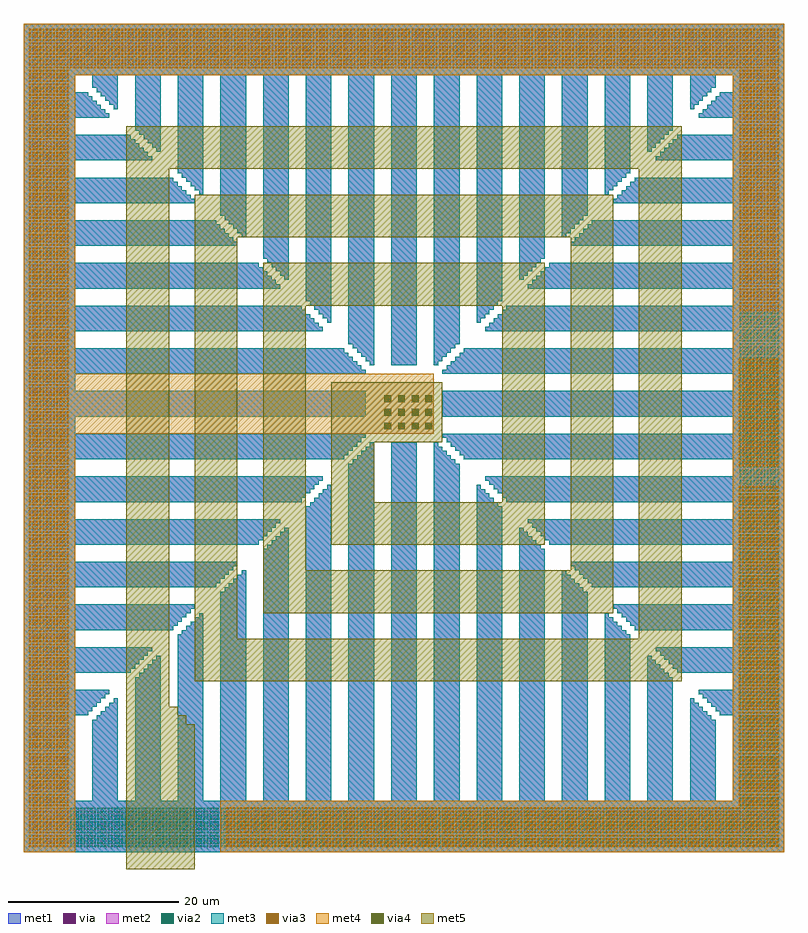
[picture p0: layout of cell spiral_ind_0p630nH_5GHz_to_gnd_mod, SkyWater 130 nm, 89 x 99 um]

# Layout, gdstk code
import gdstk
lib = gdstk.Library(unit=1e-6, precision=1e-09)
def R(c, l, rs):  # rectangles x0, y0, x1, y1
    for r in rs: c.add(gdstk.rectangle(r[:2], r[2:], *l))
def A(c, l, x, y, w, h, nx, ny, dx, dy):  # array of equal rectangles
    R(c, l, [(x+i*dx, y+j*dy, x+i*dx+w, y+j*dy+h) for i in range(nx) for j in range(ny)])
met1 = (68, 20)
via = (68, 44)
met2 = (69, 20)
via2 = (69, 44)
met3 = (70, 20)
via3 = (70, 44)
met4 = (71, 20)
via4 = (71, 44)
met5 = (72, 20)

spiral_ind_0p630nh_5ghz_ = lib.new_cell('spiral_ind_0p630nH_5GHz_to_gnd_mod')
A(spiral_ind_0p630nh_5ghz_, met1, -12, -1, 6, 2, 1, 15, 0, 5)
A(spiral_ind_0p630nh_5ghz_, met1, 71, -1, 6, 2, 1, 15, 0, 5)
R(spiral_ind_0p630nh_5ghz_, met1, [(-12,-20,77,-14), (-12,-14,-6,-4), (-4,-14,-1,-4.5), (1,-14,4,0.5), (6,-14,9,5.5), (11,-14,14,10.5), (16,-14,19,15.5), (21,-14,24,20.5), (26,-14,29,25.5), (31,-14,34,28), (36,-14,39,25.5), (41,-14,44,20.5), (46,-14,49,15.5), (51,-14,54,10.5), (56,-14,59,5.5), (61,-14,64,0.5), (66,-14,69,-4.5), (71,-14,77,-4), (-3.5,-4.5,-1,-4), (66,-4.5,68.5,-4), (-12,-4,-4.5,-3.5), (-3,-4,-1,-3.5), (66,-4,68,-3.5), (69.5,-4,77,-3.5), (-12,-3.5,-4,-3), (-2.5,-3.5,-1,-3), (66,-3.5,67.5,-3), (69,-3.5,77,-3), (-12,-3,-3.5,-2.5), (-2,-3,-1,-2.5), (66,-3,67,-2.5), (68.5,-3,77,-2.5), (-12,-2.5,-3,-2), (-1.5,-2.5,-1,-2), (66,-2.5,66.5,-2), (68,-2.5,77,-2), (-12,-2,-2.5,-1.5), (67.5,-2,77,-1.5), (-12,-1.5,-2,-1), (67,-1.5,77,-1), (1.5,0.5,4,1), (61,0.5,63.5,1), (-12,1,0.5,1.5), (2,1,4,1.5), (61,1,63,1.5), (64.5,1,77,1.5), (-12,1.5,1,2), (2.5,1.5,4,2), (61,1.5,62.5,2), (64,1.5,77,2), (-12,2,1.5,2.5), (3,2,4,2.5), (61,2,62,2.5), (63.5,2,77,2.5), (-12,2.5,2,3), (3.5,2.5,4,3), (61,2.5,61.5,3), (63,2.5,77,3), (-12,3,2.5,3.5), (62.5,3,77,3.5), (-12,3.5,3,4), (62,3.5,77,4), (6.5,5.5,9,6), (56,5.5,58.5,6), (-12,6,5.5,6.5), (7,6,9,6.5), (56,6,58,6.5), (59.5,6,77,6.5), (-12,6.5,6,7), (7.5,6.5,9,7), (56,6.5,57.5,7), (59,6.5,77,7), (-12,7,6.5,7.5), (8,7,9,7.5), (56,7,57,7.5), (58.5,7,77,7.5), (-12,7.5,7,8), (8.5,7.5,9,8), (56,7.5,56.5,8), (58,7.5,77,8), (-12,8,7.5,8.5), (57.5,8,77,8.5), (-12,8.5,8,9), (57,8.5,77,9), (11.5,10.5,14,11), (51,10.5,53.5,11), (-12,11,10.5,11.5), (12,11,14,11.5), (51,11,53,11.5), (54.5,11,77,11.5), (-12,11.5,11,12), (12.5,11.5,14,12), (51,11.5,52.5,12), (54,11.5,77,12), (-12,12,11.5,12.5), (13,12,14,12.5), (51,12,52,12.5), (53.5,12,77,12.5), (-12,12.5,12,13), (13.5,12.5,14,13), (51,12.5,51.5,13), (53,12.5,77,13), (-12,13,12.5,13.5), (52.5,13,77,13.5), (-12,13.5,13,14), (52,13.5,77,14), (16.5,15.5,19,16), (46,15.5,48.5,16), (-12,16,15.5,16.5), (17,16,19,16.5), (46,16,48,16.5), (49.5,16,77,16.5), (-12,16.5,16,17), (17.5,16.5,19,17), (46,16.5,47.5,17), (49,16.5,77,17), (-12,17,16.5,17.5), (18,17,19,17.5), (46,17,47,17.5), (48.5,17,77,17.5), (-12,17.5,17,18), (18.5,17.5,19,18), (46,17.5,46.5,18), (48,17.5,77,18), (-12,18,17.5,18.5), (47.5,18,77,18.5), (-12,18.5,18,19), (47,18.5,77,19), (21.5,20.5,24,21), (41,20.5,43.5,21), (-12,21,20.5,21.5), (22,21,24,21.5), (41,21,43,21.5), (44.5,21,77,21.5), (-12,21.5,21,22), (22.5,21.5,24,22), (41,21.5,42.5,22), (44,21.5,77,22), (-12,22,21.5,22.5), (23,22,24,22.5), (41,22,42,22.5), (43.5,22,77,22.5), (-12,22.5,22,23), (23.5,22.5,24,23), (41,22.5,41.5,23), (43,22.5,77,23), (-12,23,22.5,23.5), (42.5,23,77,23.5), (-12,23.5,23,24), (42,23.5,77,24), (26.5,25.5,29,26), (36,25.5,38.5,26), (-12,26,25.5,26.5), (27,26,29,26.5), (36,26,38,26.5), (39.5,26,77,26.5), (-12,26.5,26,27), (27.5,26.5,29,27), (36,26.5,37.5,27), (39,26.5,77,27), (-12,27,26.5,27.5), (28,27,29,27.5), (36,27,37,27.5), (38.5,27,77,27.5), (-12,27.5,27,28), (28.5,27.5,29,28), (36,27.5,36.5,28), (38,27.5,77,28), (-12,28,27.5,28.5), (37.5,28,77,28.5), (-12,28.5,28,29), (37,28.5,77,29), (-12,31,28,34), (37,31,77,34), (-12,36,28,36.5), (37,36,77,36.5), (-12,36.5,27.5,37), (37.5,36.5,77,37), (-12,37,27,37.5), (28.5,37,29,37.5), (31,37,34,71), (36,37,36.5,37.5), (38,37,77,37.5), (-12,37.5,26.5,38), (28,37.5,29,38), (36,37.5,37,38), (38.5,37.5,77,38), (-12,38,26,38.5), (27.5,38,29,38.5), (36,38,37.5,38.5), (39,38,77,38.5), (-12,38.5,25.5,39), (27,38.5,29,39), (36,38.5,38,39), (39.5,38.5,77,39), (26.5,39,29,39.5), (36,39,38.5,39.5), (26,39.5,29,71), (36,39.5,39,71), (-12,41,23,41.5), (42,41,77,41.5), (-12,41.5,22.5,42), (42.5,41.5,77,42), (-12,42,22,42.5), (23.5,42,24,42.5), (41,42,41.5,42.5), (43,42,77,42.5), (-12,42.5,21.5,43), (23,42.5,24,43), (41,42.5,42,43), (43.5,42.5,77,43), (-12,43,21,43.5), (22.5,43,24,43.5), (41,43,42.5,43.5), (44,43,77,43.5), (-12,43.5,20.5,44), (22,43.5,24,44), (41,43.5,43,44), (44.5,43.5,77,44), (21.5,44,24,44.5), (41,44,43.5,44.5), (21,44.5,24,71), (41,44.5,44,71), (-12,46,18,46.5), (47,46,77,46.5), (-12,46.5,17.5,47), (47.5,46.5,77,47), (-12,47,17,47.5), (18.5,47,19,47.5), (46,47,46.5,47.5), (48,47,77,47.5), (-12,47.5,16.5,48), (18,47.5,19,48), (46,47.5,47,48), (48.5,47.5,77,48), (-12,48,16,48.5), (17.5,48,19,48.5), (46,48,47.5,48.5), (49,48,77,48.5), (-12,48.5,15.5,49), (17,48.5,19,49), (46,48.5,48,49), (49.5,48.5,77,49), (16.5,49,19,49.5), (46,49,48.5,49.5), (16,49.5,19,71), (46,49.5,49,71), (-12,51,13,51.5), (52,51,77,51.5), (-12,51.5,12.5,52), (52.5,51.5,77,52), (-12,52,12,52.5), (13.5,52,14,52.5), (51,52,51.5,52.5), (53,52,77,52.5), (-12,52.5,11.5,53), (13,52.5,14,53), (51,52.5,52,53), (53.5,52.5,77,53), (-12,53,11,53.5), (12.5,53,14,53.5), (51,53,52.5,53.5), (54,53,77,53.5), (-12,53.5,10.5,54), (12,53.5,14,54), (51,53.5,53,54), (54.5,53.5,77,54), (11.5,54,14,54.5), (51,54,53.5,54.5), (11,54.5,14,71), (51,54.5,54,71), (-12,56,8,56.5), (57,56,77,56.5), (-12,56.5,7.5,57), (57.5,56.5,77,57), (-12,57,7,57.5), (8.5,57,9,57.5), (56,57,56.5,57.5), (58,57,77,57.5), (-12,57.5,6.5,58), (8,57.5,9,58), (56,57.5,57,58), (58.5,57.5,77,58), (-12,58,6,58.5), (7.5,58,9,58.5), (56,58,57.5,58.5), (59,58,77,58.5), (-12,58.5,5.5,59), (7,58.5,9,59), (56,58.5,58,59), (59.5,58.5,77,59), (6.5,59,9,59.5), (56,59,58.5,59.5), (6,59.5,9,71), (56,59.5,59,71), (-12,61,3,61.5), (62,61,77,61.5), (-12,61.5,2.5,62), (62.5,61.5,77,62), (-12,62,2,62.5), (3.5,62,4,62.5), (61,62,61.5,62.5), (63,62,77,62.5), (-12,62.5,1.5,63), (3,62.5,4,63), (61,62.5,62,63), (63.5,62.5,77,63), (-12,63,1,63.5), (2.5,63,4,63.5), (61,63,62.5,63.5), (64,63,77,63.5), (-12,63.5,0.5,64), (2,63.5,4,64), (61,63.5,63,64), (64.5,63.5,77,64), (1.5,64,4,64.5), (61,64,63.5,64.5), (1,64.5,4,71), (61,64.5,64,71), (-12,66,-2,66.5), (67,66,77,66.5), (-12,66.5,-2.5,67), (67.5,66.5,77,67), (-12,67,-3,67.5), (-1.5,67,-1,67.5), (66,67,66.5,67.5), (68,67,77,67.5), (-12,67.5,-3.5,68), (-2,67.5,-1,68), (66,67.5,67,68), (68.5,67.5,77,68), (-12,68,-4,68.5), (-2.5,68,-1,68.5), (66,68,67.5,68.5), (69,68,77,68.5), (-12,68.5,-4.5,69), (-3,68.5,-1,69), (66,68.5,68,69), (69.5,68.5,77,69), (-3.5,69,-1,69.5), (66,69,68.5,69.5), (-4,69.5,-1,71), (66,69.5,69,71), (-12,71,77,77)])
A(spiral_ind_0p630nh_5ghz_, via, -11.415, -19.415, 0.15, 0.15, 275, 15, 0.32, 0.32)
A(spiral_ind_0p630nh_5ghz_, via, -11.415, -14.615, 0.15, 0.15, 15, 270, 0.32, 0.32)
A(spiral_ind_0p630nh_5ghz_, via, 71.785, -14.615, 0.15, 0.15, 15, 270, 0.32, 0.32)
A(spiral_ind_0p630nh_5ghz_, via, -11.415, 71.785, 0.15, 0.15, 275, 15, 0.32, 0.32)
A(spiral_ind_0p630nh_5ghz_, met2, -12, -1, 6, 2, 1, 15, 0, 5)
A(spiral_ind_0p630nh_5ghz_, met2, 71, -1, 6, 2, 1, 15, 0, 5)
R(spiral_ind_0p630nh_5ghz_, met2, [(-12,-20,77,-14), (-12,-14,-6,-4), (-4,-14,-1,-4.5), (1,-14,4,0.5), (6,-14,9,5.5), (11,-14,14,10.5), (16,-14,19,15.5), (21,-14,24,20.5), (26,-14,29,25.5), (31,-14,34,28), (36,-14,39,25.5), (41,-14,44,20.5), (46,-14,49,15.5), (51,-14,54,10.5), (56,-14,59,5.5), (61,-14,64,0.5), (66,-14,69,-4.5), (71,-14,77,-4), (-3.5,-4.5,-1,-4), (66,-4.5,68.5,-4), (-12,-4,-4.5,-3.5), (-3,-4,-1,-3.5), (66,-4,68,-3.5), (69.5,-4,77,-3.5), (-12,-3.5,-4,-3), (-2.5,-3.5,-1,-3), (66,-3.5,67.5,-3), (69,-3.5,77,-3), (-12,-3,-3.5,-2.5), (-2,-3,-1,-2.5), (66,-3,67,-2.5), (68.5,-3,77,-2.5), (-12,-2.5,-3,-2), (-1.5,-2.5,-1,-2), (66,-2.5,66.5,-2), (68,-2.5,77,-2), (-12,-2,-2.5,-1.5), (67.5,-2,77,-1.5), (-12,-1.5,-2,-1), (67,-1.5,77,-1), (1.5,0.5,4,1), (61,0.5,63.5,1), (-12,1,0.5,1.5), (2,1,4,1.5), (61,1,63,1.5), (64.5,1,77,1.5), (-12,1.5,1,2), (2.5,1.5,4,2), (61,1.5,62.5,2), (64,1.5,77,2), (-12,2,1.5,2.5), (3,2,4,2.5), (61,2,62,2.5), (63.5,2,77,2.5), (-12,2.5,2,3), (3.5,2.5,4,3), (61,2.5,61.5,3), (63,2.5,77,3), (-12,3,2.5,3.5), (62.5,3,77,3.5), (-12,3.5,3,4), (62,3.5,77,4), (6.5,5.5,9,6), (56,5.5,58.5,6), (-12,6,5.5,6.5), (7,6,9,6.5), (56,6,58,6.5), (59.5,6,77,6.5), (-12,6.5,6,7), (7.5,6.5,9,7), (56,6.5,57.5,7), (59,6.5,77,7), (-12,7,6.5,7.5), (8,7,9,7.5), (56,7,57,7.5), (58.5,7,77,7.5), (-12,7.5,7,8), (8.5,7.5,9,8), (56,7.5,56.5,8), (58,7.5,77,8), (-12,8,7.5,8.5), (57.5,8,77,8.5), (-12,8.5,8,9), (57,8.5,77,9), (11.5,10.5,14,11), (51,10.5,53.5,11), (-12,11,10.5,11.5), (12,11,14,11.5), (51,11,53,11.5), (54.5,11,77,11.5), (-12,11.5,11,12), (12.5,11.5,14,12), (51,11.5,52.5,12), (54,11.5,77,12), (-12,12,11.5,12.5), (13,12,14,12.5), (51,12,52,12.5), (53.5,12,77,12.5), (-12,12.5,12,13), (13.5,12.5,14,13), (51,12.5,51.5,13), (53,12.5,77,13), (-12,13,12.5,13.5), (52.5,13,77,13.5), (-12,13.5,13,14), (52,13.5,77,14), (16.5,15.5,19,16), (46,15.5,48.5,16), (-12,16,15.5,16.5), (17,16,19,16.5), (46,16,48,16.5), (49.5,16,77,16.5), (-12,16.5,16,17), (17.5,16.5,19,17), (46,16.5,47.5,17), (49,16.5,77,17), (-12,17,16.5,17.5), (18,17,19,17.5), (46,17,47,17.5), (48.5,17,77,17.5), (-12,17.5,17,18), (18.5,17.5,19,18), (46,17.5,46.5,18), (48,17.5,77,18), (-12,18,17.5,18.5), (47.5,18,77,18.5), (-12,18.5,18,19), (47,18.5,77,19), (21.5,20.5,24,21), (41,20.5,43.5,21), (-12,21,20.5,21.5), (22,21,24,21.5), (41,21,43,21.5), (44.5,21,77,21.5), (-12,21.5,21,22), (22.5,21.5,24,22), (41,21.5,42.5,22), (44,21.5,77,22), (-12,22,21.5,22.5), (23,22,24,22.5), (41,22,42,22.5), (43.5,22,77,22.5), (-12,22.5,22,23), (23.5,22.5,24,23), (41,22.5,41.5,23), (43,22.5,77,23), (-12,23,22.5,23.5), (42.5,23,77,23.5), (-12,23.5,23,24), (42,23.5,77,24), (26.5,25.5,29,26), (36,25.5,38.5,26), (-12,26,25.5,26.5), (27,26,29,26.5), (36,26,38,26.5), (39.5,26,77,26.5), (-12,26.5,26,27), (27.5,26.5,29,27), (36,26.5,37.5,27), (39,26.5,77,27), (-12,27,26.5,27.5), (28,27,29,27.5), (36,27,37,27.5), (38.5,27,77,27.5), (-12,27.5,27,28), (28.5,27.5,29,28), (36,27.5,36.5,28), (38,27.5,77,28), (-12,28,27.5,28.5), (37.5,28,77,28.5), (-12,28.5,28,29), (37,28.5,77,29), (-12,31,28,34), (37,31,77,34), (-12,36,28,36.5), (37,36,77,36.5), (-12,36.5,27.5,37), (37.5,36.5,77,37), (-12,37,27,37.5), (28.5,37,29,37.5), (31,37,34,71), (36,37,36.5,37.5), (38,37,77,37.5), (-12,37.5,26.5,38), (28,37.5,29,38), (36,37.5,37,38), (38.5,37.5,77,38), (-12,38,26,38.5), (27.5,38,29,38.5), (36,38,37.5,38.5), (39,38,77,38.5), (-12,38.5,25.5,39), (27,38.5,29,39), (36,38.5,38,39), (39.5,38.5,77,39), (26.5,39,29,39.5), (36,39,38.5,39.5), (26,39.5,29,71), (36,39.5,39,71), (-12,41,23,41.5), (42,41,77,41.5), (-12,41.5,22.5,42), (42.5,41.5,77,42), (-12,42,22,42.5), (23.5,42,24,42.5), (41,42,41.5,42.5), (43,42,77,42.5), (-12,42.5,21.5,43), (23,42.5,24,43), (41,42.5,42,43), (43.5,42.5,77,43), (-12,43,21,43.5), (22.5,43,24,43.5), (41,43,42.5,43.5), (44,43,77,43.5), (-12,43.5,20.5,44), (22,43.5,24,44), (41,43.5,43,44), (44.5,43.5,77,44), (21.5,44,24,44.5), (41,44,43.5,44.5), (21,44.5,24,71), (41,44.5,44,71), (-12,46,18,46.5), (47,46,77,46.5), (-12,46.5,17.5,47), (47.5,46.5,77,47), (-12,47,17,47.5), (18.5,47,19,47.5), (46,47,46.5,47.5), (48,47,77,47.5), (-12,47.5,16.5,48), (18,47.5,19,48), (46,47.5,47,48), (48.5,47.5,77,48), (-12,48,16,48.5), (17.5,48,19,48.5), (46,48,47.5,48.5), (49,48,77,48.5), (-12,48.5,15.5,49), (17,48.5,19,49), (46,48.5,48,49), (49.5,48.5,77,49), (16.5,49,19,49.5), (46,49,48.5,49.5), (16,49.5,19,71), (46,49.5,49,71), (-12,51,13,51.5), (52,51,77,51.5), (-12,51.5,12.5,52), (52.5,51.5,77,52), (-12,52,12,52.5), (13.5,52,14,52.5), (51,52,51.5,52.5), (53,52,77,52.5), (-12,52.5,11.5,53), (13,52.5,14,53), (51,52.5,52,53), (53.5,52.5,77,53), (-12,53,11,53.5), (12.5,53,14,53.5), (51,53,52.5,53.5), (54,53,77,53.5), (-12,53.5,10.5,54), (12,53.5,14,54), (51,53.5,53,54), (54.5,53.5,77,54), (11.5,54,14,54.5), (51,54,53.5,54.5), (11,54.5,14,71), (51,54.5,54,71), (-12,56,8,56.5), (57,56,77,56.5), (-12,56.5,7.5,57), (57.5,56.5,77,57), (-12,57,7,57.5), (8.5,57,9,57.5), (56,57,56.5,57.5), (58,57,77,57.5), (-12,57.5,6.5,58), (8,57.5,9,58), (56,57.5,57,58), (58.5,57.5,77,58), (-12,58,6,58.5), (7.5,58,9,58.5), (56,58,57.5,58.5), (59,58,77,58.5), (-12,58.5,5.5,59), (7,58.5,9,59), (56,58.5,58,59), (59.5,58.5,77,59), (6.5,59,9,59.5), (56,59,58.5,59.5), (6,59.5,9,71), (56,59.5,59,71), (-12,61,3,61.5), (62,61,77,61.5), (-12,61.5,2.5,62), (62.5,61.5,77,62), (-12,62,2,62.5), (3.5,62,4,62.5), (61,62,61.5,62.5), (63,62,77,62.5), (-12,62.5,1.5,63), (3,62.5,4,63), (61,62.5,62,63), (63.5,62.5,77,63), (-12,63,1,63.5), (2.5,63,4,63.5), (61,63,62.5,63.5), (64,63,77,63.5), (-12,63.5,0.5,64), (2,63.5,4,64), (61,63.5,63,64), (64.5,63.5,77,64), (1.5,64,4,64.5), (61,64,63.5,64.5), (1,64.5,4,71), (61,64.5,64,71), (-12,66,-2,66.5), (67,66,77,66.5), (-12,66.5,-2.5,67), (67.5,66.5,77,67), (-12,67,-3,67.5), (-1.5,67,-1,67.5), (66,67,66.5,67.5), (68,67,77,67.5), (-12,67.5,-3.5,68), (-2,67.5,-1,68), (66,67.5,67,68), (68.5,67.5,77,68), (-12,68,-4,68.5), (-2.5,68,-1,68.5), (66,68,67.5,68.5), (69,68,77,68.5), (-12,68.5,-4.5,69), (-3,68.5,-1,69), (66,68.5,68,69), (69.5,68.5,77,69), (-3.5,69,-1,69.5), (66,69,68.5,69.5), (-4,69.5,-1,71), (66,69.5,69,71), (-12,71,77,77)])
A(spiral_ind_0p630nh_5ghz_, via2, -11.4, -19.4, 0.2, 0.2, 220, 12, 0.4, 0.4)
A(spiral_ind_0p630nh_5ghz_, via2, -11.4, -14.6, 0.2, 0.2, 12, 216, 0.4, 0.4)
A(spiral_ind_0p630nh_5ghz_, via2, 71.8, -14.6, 0.2, 0.2, 12, 216, 0.4, 0.4)
A(spiral_ind_0p630nh_5ghz_, via2, -11.4, 71.8, 0.2, 0.2, 220, 12, 0.4, 0.4)
A(spiral_ind_0p630nh_5ghz_, met3, -12, -1, 6, 2, 1, 15, 0, 5)
A(spiral_ind_0p630nh_5ghz_, met3, 71, -1, 6, 2, 1, 15, 0, 5)
R(spiral_ind_0p630nh_5ghz_, met3, [(-12,-20,77,-14), (-12,-14,-6,-4), (-4,-14,-1,-4.5), (1,-14,4,0.5), (6,-14,9,5.5), (11,-14,14,10.5), (16,-14,19,15.5), (21,-14,24,20.5), (26,-14,29,25.5), (31,-14,34,28), (36,-14,39,25.5), (41,-14,44,20.5), (46,-14,49,15.5), (51,-14,54,10.5), (56,-14,59,5.5), (61,-14,64,0.5), (66,-14,69,-4.5), (71,-14,77,-4), (-3.5,-4.5,-1,-4), (66,-4.5,68.5,-4), (-12,-4,-4.5,-3.5), (-3,-4,-1,-3.5), (66,-4,68,-3.5), (69.5,-4,77,-3.5), (-12,-3.5,-4,-3), (-2.5,-3.5,-1,-3), (66,-3.5,67.5,-3), (69,-3.5,77,-3), (-12,-3,-3.5,-2.5), (-2,-3,-1,-2.5), (66,-3,67,-2.5), (68.5,-3,77,-2.5), (-12,-2.5,-3,-2), (-1.5,-2.5,-1,-2), (66,-2.5,66.5,-2), (68,-2.5,77,-2), (-12,-2,-2.5,-1.5), (67.5,-2,77,-1.5), (-12,-1.5,-2,-1), (67,-1.5,77,-1), (1.5,0.5,4,1), (61,0.5,63.5,1), (-12,1,0.5,1.5), (2,1,4,1.5), (61,1,63,1.5), (64.5,1,77,1.5), (-12,1.5,1,2), (2.5,1.5,4,2), (61,1.5,62.5,2), (64,1.5,77,2), (-12,2,1.5,2.5), (3,2,4,2.5), (61,2,62,2.5), (63.5,2,77,2.5), (-12,2.5,2,3), (3.5,2.5,4,3), (61,2.5,61.5,3), (63,2.5,77,3), (-12,3,2.5,3.5), (62.5,3,77,3.5), (-12,3.5,3,4), (62,3.5,77,4), (6.5,5.5,9,6), (56,5.5,58.5,6), (-12,6,5.5,6.5), (7,6,9,6.5), (56,6,58,6.5), (59.5,6,77,6.5), (-12,6.5,6,7), (7.5,6.5,9,7), (56,6.5,57.5,7), (59,6.5,77,7), (-12,7,6.5,7.5), (8,7,9,7.5), (56,7,57,7.5), (58.5,7,77,7.5), (-12,7.5,7,8), (8.5,7.5,9,8), (56,7.5,56.5,8), (58,7.5,77,8), (-12,8,7.5,8.5), (57.5,8,77,8.5), (-12,8.5,8,9), (57,8.5,77,9), (11.5,10.5,14,11), (51,10.5,53.5,11), (-12,11,10.5,11.5), (12,11,14,11.5), (51,11,53,11.5), (54.5,11,77,11.5), (-12,11.5,11,12), (12.5,11.5,14,12), (51,11.5,52.5,12), (54,11.5,77,12), (-12,12,11.5,12.5), (13,12,14,12.5), (51,12,52,12.5), (53.5,12,77,12.5), (-12,12.5,12,13), (13.5,12.5,14,13), (51,12.5,51.5,13), (53,12.5,77,13), (-12,13,12.5,13.5), (52.5,13,77,13.5), (-12,13.5,13,14), (52,13.5,77,14), (16.5,15.5,19,16), (46,15.5,48.5,16), (-12,16,15.5,16.5), (17,16,19,16.5), (46,16,48,16.5), (49.5,16,77,16.5), (-12,16.5,16,17), (17.5,16.5,19,17), (46,16.5,47.5,17), (49,16.5,77,17), (-12,17,16.5,17.5), (18,17,19,17.5), (46,17,47,17.5), (48.5,17,77,17.5), (-12,17.5,17,18), (18.5,17.5,19,18), (46,17.5,46.5,18), (48,17.5,77,18), (-12,18,17.5,18.5), (47.5,18,77,18.5), (-12,18.5,18,19), (47,18.5,77,19), (21.5,20.5,24,21), (41,20.5,43.5,21), (-12,21,20.5,21.5), (22,21,24,21.5), (41,21,43,21.5), (44.5,21,77,21.5), (-12,21.5,21,22), (22.5,21.5,24,22), (41,21.5,42.5,22), (44,21.5,77,22), (-12,22,21.5,22.5), (23,22,24,22.5), (41,22,42,22.5), (43.5,22,77,22.5), (-12,22.5,22,23), (23.5,22.5,24,23), (41,22.5,41.5,23), (43,22.5,77,23), (-12,23,22.5,23.5), (42.5,23,77,23.5), (-12,23.5,23,24), (42,23.5,77,24), (26.5,25.5,29,26), (36,25.5,38.5,26), (-12,26,25.5,26.5), (27,26,29,26.5), (36,26,38,26.5), (39.5,26,77,26.5), (-12,26.5,26,27), (27.5,26.5,29,27), (36,26.5,37.5,27), (39,26.5,77,27), (-12,27,26.5,27.5), (28,27,29,27.5), (36,27,37,27.5), (38.5,27,77,27.5), (-12,27.5,27,28), (28.5,27.5,29,28), (36,27.5,36.5,28), (38,27.5,77,28), (-12,28,27.5,28.5), (37.5,28,77,28.5), (-12,28.5,28,29), (37,28.5,77,29), (-12,31,28,34), (37,31,77,34), (-12,36,28,36.5), (37,36,77,36.5), (-12,36.5,27.5,37), (37.5,36.5,77,37), (-12,37,27,37.5), (28.5,37,29,37.5), (31,37,34,71), (36,37,36.5,37.5), (38,37,77,37.5), (-12,37.5,26.5,38), (28,37.5,29,38), (36,37.5,37,38), (38.5,37.5,77,38), (-12,38,26,38.5), (27.5,38,29,38.5), (36,38,37.5,38.5), (39,38,77,38.5), (-12,38.5,25.5,39), (27,38.5,29,39), (36,38.5,38,39), (39.5,38.5,77,39), (26.5,39,29,39.5), (36,39,38.5,39.5), (26,39.5,29,71), (36,39.5,39,71), (-12,41,23,41.5), (42,41,77,41.5), (-12,41.5,22.5,42), (42.5,41.5,77,42), (-12,42,22,42.5), (23.5,42,24,42.5), (41,42,41.5,42.5), (43,42,77,42.5), (-12,42.5,21.5,43), (23,42.5,24,43), (41,42.5,42,43), (43.5,42.5,77,43), (-12,43,21,43.5), (22.5,43,24,43.5), (41,43,42.5,43.5), (44,43,77,43.5), (-12,43.5,20.5,44), (22,43.5,24,44), (41,43.5,43,44), (44.5,43.5,77,44), (21.5,44,24,44.5), (41,44,43.5,44.5), (21,44.5,24,71), (41,44.5,44,71), (-12,46,18,46.5), (47,46,77,46.5), (-12,46.5,17.5,47), (47.5,46.5,77,47), (-12,47,17,47.5), (18.5,47,19,47.5), (46,47,46.5,47.5), (48,47,77,47.5), (-12,47.5,16.5,48), (18,47.5,19,48), (46,47.5,47,48), (48.5,47.5,77,48), (-12,48,16,48.5), (17.5,48,19,48.5), (46,48,47.5,48.5), (49,48,77,48.5), (-12,48.5,15.5,49), (17,48.5,19,49), (46,48.5,48,49), (49.5,48.5,77,49), (16.5,49,19,49.5), (46,49,48.5,49.5), (16,49.5,19,71), (46,49.5,49,71), (-12,51,13,51.5), (52,51,77,51.5), (-12,51.5,12.5,52), (52.5,51.5,77,52), (-12,52,12,52.5), (13.5,52,14,52.5), (51,52,51.5,52.5), (53,52,77,52.5), (-12,52.5,11.5,53), (13,52.5,14,53), (51,52.5,52,53), (53.5,52.5,77,53), (-12,53,11,53.5), (12.5,53,14,53.5), (51,53,52.5,53.5), (54,53,77,53.5), (-12,53.5,10.5,54), (12,53.5,14,54), (51,53.5,53,54), (54.5,53.5,77,54), (11.5,54,14,54.5), (51,54,53.5,54.5), (11,54.5,14,71), (51,54.5,54,71), (-12,56,8,56.5), (57,56,77,56.5), (-12,56.5,7.5,57), (57.5,56.5,77,57), (-12,57,7,57.5), (8.5,57,9,57.5), (56,57,56.5,57.5), (58,57,77,57.5), (-12,57.5,6.5,58), (8,57.5,9,58), (56,57.5,57,58), (58.5,57.5,77,58), (-12,58,6,58.5), (7.5,58,9,58.5), (56,58,57.5,58.5), (59,58,77,58.5), (-12,58.5,5.5,59), (7,58.5,9,59), (56,58.5,58,59), (59.5,58.5,77,59), (6.5,59,9,59.5), (56,59,58.5,59.5), (6,59.5,9,71), (56,59.5,59,71), (-12,61,3,61.5), (62,61,77,61.5), (-12,61.5,2.5,62), (62.5,61.5,77,62), (-12,62,2,62.5), (3.5,62,4,62.5), (61,62,61.5,62.5), (63,62,77,62.5), (-12,62.5,1.5,63), (3,62.5,4,63), (61,62.5,62,63), (63.5,62.5,77,63), (-12,63,1,63.5), (2.5,63,4,63.5), (61,63,62.5,63.5), (64,63,77,63.5), (-12,63.5,0.5,64), (2,63.5,4,64), (61,63.5,63,64), (64.5,63.5,77,64), (1.5,64,4,64.5), (61,64,63.5,64.5), (1,64.5,4,71), (61,64.5,64,71), (-12,66,-2,66.5), (67,66,77,66.5), (-12,66.5,-2.5,67), (67.5,66.5,77,67), (-12,67,-3,67.5), (-1.5,67,-1,67.5), (66,67,66.5,67.5), (68,67,77,67.5), (-12,67.5,-3.5,68), (-2,67.5,-1,68), (66,67.5,67,68), (68.5,67.5,77,68), (-12,68,-4,68.5), (-2.5,68,-1,68.5), (66,68,67.5,68.5), (69,68,77,68.5), (-12,68.5,-4.5,69), (-3,68.5,-1,69), (66,68.5,68,69), (69.5,68.5,77,69), (-3.5,69,-1,69.5), (66,69,68.5,69.5), (-4,69.5,-1,71), (66,69.5,69,71), (-12,71,77,77)])
A(spiral_ind_0p630nh_5ghz_, via3, -11.4, -19.4, 0.2, 0.2, 12, 228, 0.4, 0.4)
A(spiral_ind_0p630nh_5ghz_, via3, 11.7, -19.35, 0.2, 0.2, 162, 12, 0.4, 0.4)
A(spiral_ind_0p630nh_5ghz_, via3, 71.7, -14.55, 0.2, 0.2, 12, 94, 0.4, 0.4)
A(spiral_ind_0p630nh_5ghz_, via3, 71.7, 25.2, 0.2, 0.2, 12, 32, 0.4, 0.4)
A(spiral_ind_0p630nh_5ghz_, via3, 71.8, 43.4, 0.2, 0.2, 12, 71, 0.4, 0.4)
A(spiral_ind_0p630nh_5ghz_, via3, -11.4, 71.8, 0.2, 0.2, 220, 12, 0.4, 0.4)
R(spiral_ind_0p630nh_5ghz_, met4, [(-12,-20,-6,29), (11,-20,77,-14), (71,-14,77,71), (-12,29,36,36), (-12,36,-6,71), (-12,71,77,77)])
A(spiral_ind_0p630nh_5ghz_, via4, 30.2, 29.5, 0.8, 0.8, 4, 3, 1.6, 1.6)
R(spiral_ind_0p630nh_5ghz_, met5, [(0,-22,8,-5), (0,-5,7,-4), (0,-4,6,-3), (0,-3,5,60), (8,0,65,5), (8,5,13,52), (60,5,65,60), (16,8,57,13), (16,13,21,44), (52,13,57,52), (24,16,49,21), (24,21,29,28), (44,21,49,44), (24,28,37,35), (16,44,49,49), (8,52,57,57), (0,60,65,65)])

lib.write_gds('spiral_ind_0p630nH_5GHz_to_gnd_mod.gds')
